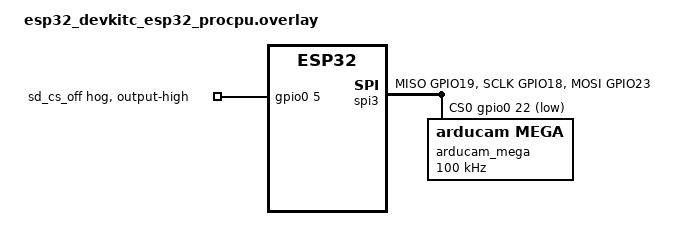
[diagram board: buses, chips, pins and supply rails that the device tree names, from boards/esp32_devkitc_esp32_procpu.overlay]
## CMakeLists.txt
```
# ArduCAM Mega spike (#37): upstream's driver (zephyr main, drivers/video/video_arducam_mega.c,
# added 2026-03-24) vendored against our v4.2 tree, and a capture loop. No Toit.
cmake_minimum_required(VERSION 3.20.0)
set(DTS_ROOT ${CMAKE_CURRENT_SOURCE_DIR})
find_package(Zephyr REQUIRED HINTS $ENV{ZEPHYR_BASE})
project(arducam_spike)
target_include_directories(app PRIVATE include ${ZEPHYR_BASE}/drivers/video)
target_sources(app PRIVATE src/main.c src/video_arducam_mega.c)
```

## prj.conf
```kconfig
CONFIG_SPI=y
CONFIG_GPIO=y
CONFIG_VIDEO=y
CONFIG_VIDEO_BUFFER_POOL_SZ_MAX=8192
CONFIG_VIDEO_BUFFER_POOL_NUM_MAX=1
CONFIG_LOG=y
CONFIG_VIDEO_LOG_LEVEL_DBG=n
CONFIG_MAIN_STACK_SIZE=4096
CONFIG_BASE64=y
```

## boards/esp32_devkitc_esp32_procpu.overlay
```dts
/* ArduCAM WROOM-32 (#37): camera on SPI3 (MISO 19, MOSI 23, SCK 18), CS GPIO 22.
 * SPI3's hardware CS is GPIO 5, the SD card's CS on this board: left out of the
 * pinctrl and held high, so the SD card stays off the bus. */
#include <zephyr/dt-bindings/gpio/gpio.h>
#include <zephyr/dt-bindings/pinctrl/esp-pinctrl-common.h>
#include <dt-bindings/pinctrl/esp32-pinctrl.h>

/ {
	chosen {
		zephyr,camera = &arducam_mega;
	};
};

&pinctrl {
	spim3_cam: spim3_cam {
		group1 {
			pinmux = <SPIM3_MISO_GPIO19>,
				 <SPIM3_SCLK_GPIO18>;
		};
		group2 {
			pinmux = <SPIM3_MOSI_GPIO23>;
			output-low;
		};
	};
};

&gpio0 {
	sd_cs_off {
		gpio-hog;
		gpios = <5 GPIO_ACTIVE_HIGH>;
		output-high;
	};
};

&spi3 {
	status = "okay";
	pinctrl-0 = <&spim3_cam>;
	pinctrl-names = "default";
	cs-gpios = <&gpio0 22 GPIO_ACTIVE_LOW>;
	arducam_mega: arducam-mega@0 {
		compatible = "arducam,mega";
		reg = <0>;
		spi-max-frequency = <100000>;  /* the Toit library ran at 100 kHz; raise once captures work */
	};
};
```

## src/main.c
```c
// ArduCAM Mega spike (#37): capture one JPEG and print it base64 between
// markers; tools/arducam_rx.py on the host turns the console log into a file.
#include <zephyr/kernel.h>
#include <zephyr/device.h>
#include <zephyr/drivers/video.h>
#include <zephyr/sys/base64.h>
#include <zephyr/drivers/spi.h>
#include <stdio.h>

#define WIDTH 640
#define HEIGHT 480
#define CHUNK CONFIG_VIDEO_BUFFER_POOL_SZ_MAX

static void print_base64(const uint8_t* data, size_t len) {
  static char line[80];  // 57 bytes -> 76 characters
  for (size_t i = 0; i < len; i += 57) {
    size_t n = len - i < 57 ? len - i : 57, olen;
    base64_encode(line, sizeof(line), &olen, data + i, n);
    printf("%.*s\n", (int)olen, line);
  }
}

// One frame: enqueue the one buffer, start, take chunks until one is short.
static int capture(const struct device* cam, struct video_buffer* buf, int frame) {
  size_t total = 0;
  int64_t start = k_uptime_get();
  video_enqueue(cam, buf);
  if (video_stream_start(cam, VIDEO_BUF_TYPE_OUTPUT) != 0) return -1;
  printf("JPEG-BEGIN %d\n", frame);
  while (true) {
    struct video_buffer* got;
    if (video_dequeue(cam, &got, K_SECONDS(5)) != 0) {
      printf("JPEG-ABORT %d: no buffer in 5 s after %u B\n", frame, (unsigned)total);
      video_stream_stop(cam, VIDEO_BUF_TYPE_OUTPUT);
      return -1;
    }
    if (total == 0) printf("# first bytes %02x %02x\n", got->buffer[0], got->buffer[1]);
    print_base64(got->buffer, got->bytesused);
    total += got->bytesused;
    bool last = got->bytesused < got->size;
    if (last) {
      video_stream_stop(cam, VIDEO_BUF_TYPE_OUTPUT);
      printf("JPEG-END %d %u B, last bytes %02x %02x, %lld ms\n", frame, (unsigned)total,
             got->buffer[got->bytesused - 2], got->buffer[got->bytesused - 1], k_uptime_get() - start);
      return 0;
    }
    video_enqueue(cam, got);
  }
}


// Raw register read, the driver's framing (address, dummy, value), to see what
// the camera answers when the driver's init says "no connection".
static void probe(void) {
  static const struct spi_dt_spec bus = SPI_DT_SPEC_GET(
      DT_CHOSEN(zephyr_camera), SPI_OP_MODE_MASTER | SPI_WORD_SET(8) | SPI_LINES_SINGLE, 0);
  if (!spi_is_ready_dt(&bus)) {
    printf("probe: spi not ready\n");
    return;
  }
  static const uint8_t regs[] = {0x44, 0x40, 0x41, 0x42, 0x43};
  for (int round = 0; round < 3; round++) {
    printf("probe %d:", round);
    for (size_t i = 0; i < sizeof(regs); i++) {
      uint8_t tx[3] = {regs[i] & 0x7f, 0, 0}, rx[3] = {0};
      struct spi_buf tb = {.buf = tx, .len = 3}, rb = {.buf = rx, .len = 3};
      struct spi_buf_set ts = {.buffers = &tb, .count = 1}, rs = {.buffers = &rb, .count = 1};
      int err = spi_transceive_dt(&bus, &ts, &rs);
      printf(" %02x=%02x %02x %02x(%d)", regs[i], rx[0], rx[1], rx[2], err);
    }
    printf("\n");
    k_msleep(500);
  }
}

int main(void) {
  k_msleep(3000);  // time for the host logger to reopen the port after a flash
  const struct device* cam = DEVICE_DT_GET(DT_CHOSEN(zephyr_camera));
  probe();
  if (!device_is_ready(cam)) {
    printf("arducam: not ready (init failed: wiring, power or SPI)\n");
    return 0;
  }
  struct video_format fmt = {.type = VIDEO_BUF_TYPE_OUTPUT, .pixelformat = VIDEO_PIX_FMT_JPEG,
                             .width = WIDTH, .height = HEIGHT};
  int err = video_set_format(cam, &fmt);
  printf("arducam: ready, set JPEG %dx%d: %d\n", WIDTH, HEIGHT, err);
  struct video_buffer* buf = video_buffer_alloc(CHUNK, K_NO_WAIT);
  if (buf == NULL) {
    printf("arducam: no %d B buffer\n", CHUNK);
    return 0;
  }
  for (int frame = 0; frame < 2; frame++) {
    if (capture(cam, buf, frame) != 0) break;
    k_msleep(2000);
  }
  printf("arducam: done\n");
  return 0;
}
```
